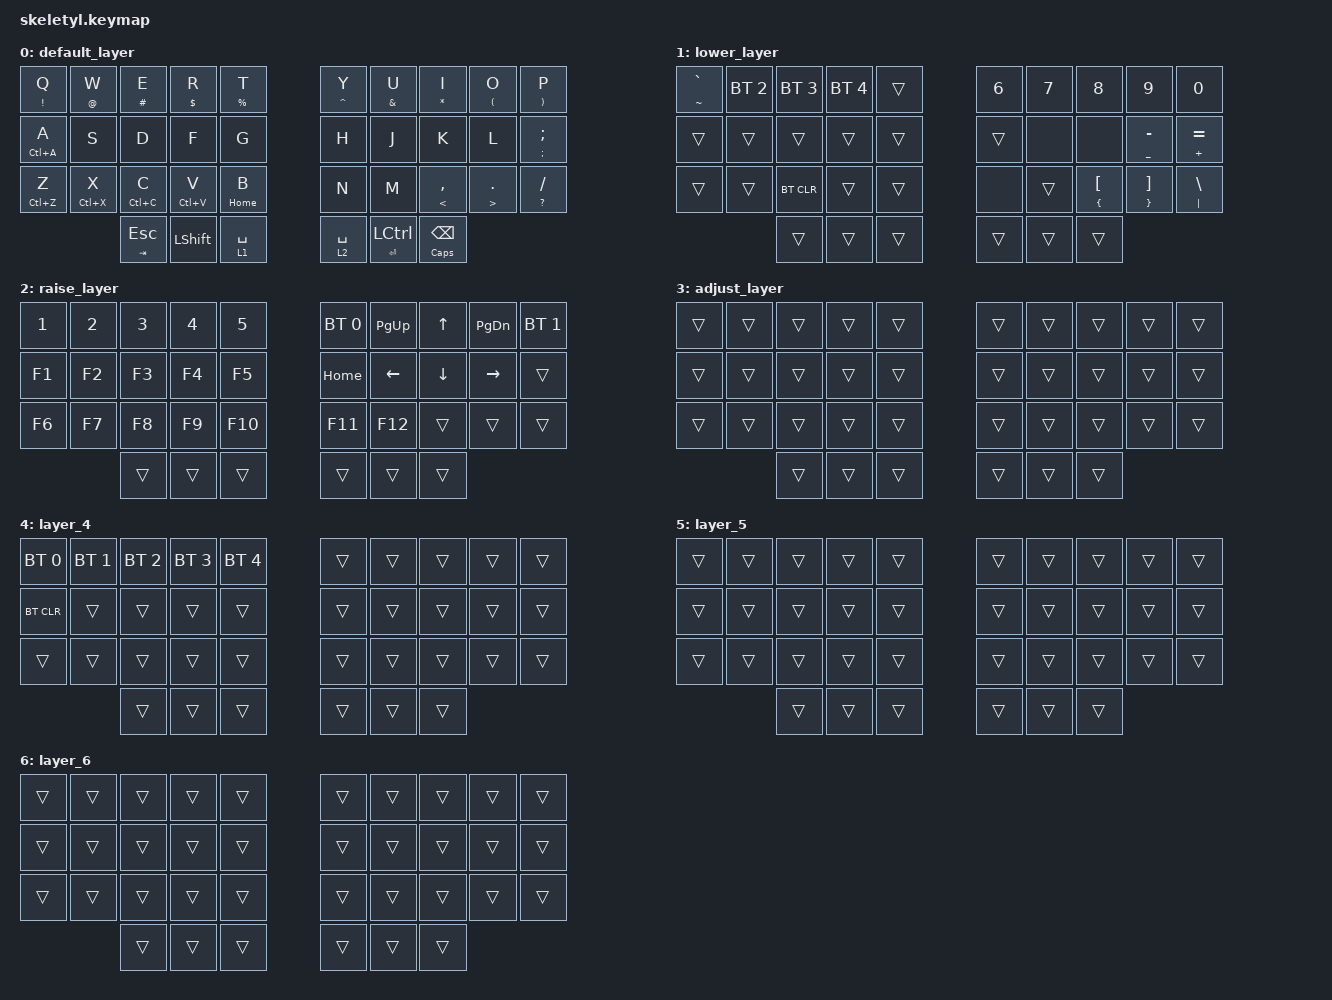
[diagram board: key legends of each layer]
/*
 * Copyright (c) 2020 The ZMK Contributors
 *
 * SPDX-License-Identifier: MIT
 */

#include <behaviors.dtsi>
#include <dt-bindings/zmk/bt.h>
#include <dt-bindings/zmk/keys.h>

&mt {
    tapping-term-ms = <200>;
    flavor = "tap-preferred";
};

/ {
    combos {
        compatible = "zmk,combos";

        left_bkt {
            bindings = <&kp LBKT>;
            key-positions = <3 2>;
            timeout-ms = <50>;
        };

        right_bkt {
            bindings = <&kp RBKT>;
            key-positions = <6 7>;
            timeout-ms = <50>;
        };

        left_par {
            bindings = <&kp LEFT_PARENTHESIS>;
            key-positions = <12 13>;
            timeout-ms = <50>;
        };

        right_par {
            bindings = <&kp RIGHT_PARENTHESIS>;
            key-positions = <16 17>;
            timeout-ms = <50>;
        };

        left_brace {
            bindings = <&kp LEFT_BRACE>;
            key-positions = <23 22>;
            timeout-ms = <50>;
        };

        right_brace {
            bindings = <&kp RIGHT_BRACE>;
            key-positions = <26 27>;
            timeout-ms = <50>;
        };

        bac {
            bindings = <&kp BACKSLASH>;
            key-positions = <4 5>;
        };

        pipe {
            bindings = <&kp PIPE>;
            key-positions = <14 15>;
        };
    };

    behaviors {
        hm: homerow_mods {
            compatible = "zmk,behavior-hold-tap";
            label = "HOMEROW_MODS";
            #binding-cells = <2>;
            tapping-term-ms = <200>;
            quick_tap_ms = <0>;
            flavor = "tap-preferred";
            bindings = <&kp>, <&kp>;

            quick-tap-ms = <180>;
            global-quick-tap;
        };

        ltq: ltq {
            compatible = "zmk,behavior-hold-tap";
            label = "LTQ";
            bindings = <&mo>, <&kp>;

            #binding-cells = <2>;
            tapping-term-ms = <600>;
            global-quick-tap;
            quick-tap-ms = <400>;
        };
    };

    keymap {
        compatible = "zmk,keymap";

        default_layer {
            bindings = <
&hm EXCLAMATION Q                  &hm AT_SIGN W                  &hm HASH E                &hm DOLLAR R  &hm PERCENT T  &hm CARET Y                              &hm AMPERSAND U  &hm ASTERISK I       &hm LEFT_PARENTHESIS O   &hm RIGHT_PARENTHESIS P
&hm LC(A) A                        &kp S                          &kp D                     &kp F         &kp G          &kp H                                    &kp J            &kp K                &kp L                    &hm SEMICOLON SEMICOLON
&hm LC(Z) Z                        &hm LC(X) X                    &hm LC(C) C               &hm LC(V) V   &hm HOME B     &kp N                                    &kp M            &hm LESS_THAN COMMA  &hm GREATER_THAN PERIOD  &hm QUESTION SLASH
                   &hm TAB ESCAPE                 &kp LEFT_SHIFT               &lt 1 SPACE                &lt 2 SPACE    &hm ENTER LCTRL  &hm CAPSLOCK BACKSPACE
            >;
        };

        lower_layer {
            bindings = <
&hm TILDE GRAVE          &bt BT_SEL 2          &bt BT_SEL 3          &bt BT_SEL 4  &trans  &kp N6          &kp N7  &kp N8                       &kp N9                         &kp N0
&trans                   &trans                &trans                &trans        &trans  &trans          &none   &none                        &hm UNDERSCORE MINUS           &hm PLUS EQUAL
&trans                   &trans                &bt BT_CLR            &trans        &trans  &none           &trans  &hm LEFT_BRACE LEFT_BRACKET  &hm RIGHT_BRACE RIGHT_BRACKET  &hm PIPE BACKSLASH
                 &trans                &trans                &trans                &trans  &trans  &trans
            >;
        };

        raise_layer {
            bindings = <
&kp NUMBER_1          &kp NUMBER_2          &kp NUMBER_3          &kp NUMBER_4  &kp N5   &bt BT_SEL 0          &kp PAGE_UP  &kp UP_ARROW  &kp PAGE_DOWN  &bt BT_SEL 1
&kp F1                &kp F2                &kp F3                &kp F4        &kp F5   &kp HOME              &kp LEFT     &kp DOWN      &kp RIGHT      &trans
&kp F6                &kp F7                &kp F8                &kp F9        &kp F10  &kp F11               &kp F12      &trans        &trans         &trans
              &trans                &trans                &trans                &trans   &trans        &trans
            >;
        };

        adjust_layer {
            bindings = <
&trans          &trans          &trans          &trans  &trans  &trans          &trans  &trans  &trans  &trans
&trans          &trans          &trans          &trans  &trans  &trans          &trans  &trans  &trans  &trans
&trans          &trans          &trans          &trans  &trans  &trans          &trans  &trans  &trans  &trans
        &trans          &trans          &trans          &trans  &trans  &trans
            >;
        };

        layer_4 {
            bindings = <
&bt BT_SEL 0          &bt BT_SEL 1          &bt BT_SEL 2          &bt BT_SEL 3  &bt BT_SEL 4  &trans          &trans  &trans  &trans  &trans
&bt BT_CLR            &trans                &trans                &trans        &trans        &trans          &trans  &trans  &trans  &trans
&trans                &trans                &trans                &trans        &trans        &trans          &trans  &trans  &trans  &trans
              &trans                &trans                &trans                &trans        &trans  &trans
            >;
        };

        layer_5 {
            bindings = <
&trans          &trans          &trans          &trans  &trans  &trans          &trans  &trans  &trans  &trans
&trans          &trans          &trans          &trans  &trans  &trans          &trans  &trans  &trans  &trans
&trans          &trans          &trans          &trans  &trans  &trans          &trans  &trans  &trans  &trans
        &trans          &trans          &trans          &trans  &trans  &trans
            >;
        };

        layer_6 {
            bindings = <
&trans          &trans          &trans          &trans  &trans  &trans          &trans  &trans  &trans  &trans
&trans          &trans          &trans          &trans  &trans  &trans          &trans  &trans  &trans  &trans
&trans          &trans          &trans          &trans  &trans  &trans          &trans  &trans  &trans  &trans
        &trans          &trans          &trans          &trans  &trans  &trans
            >;
        };
    };
};
